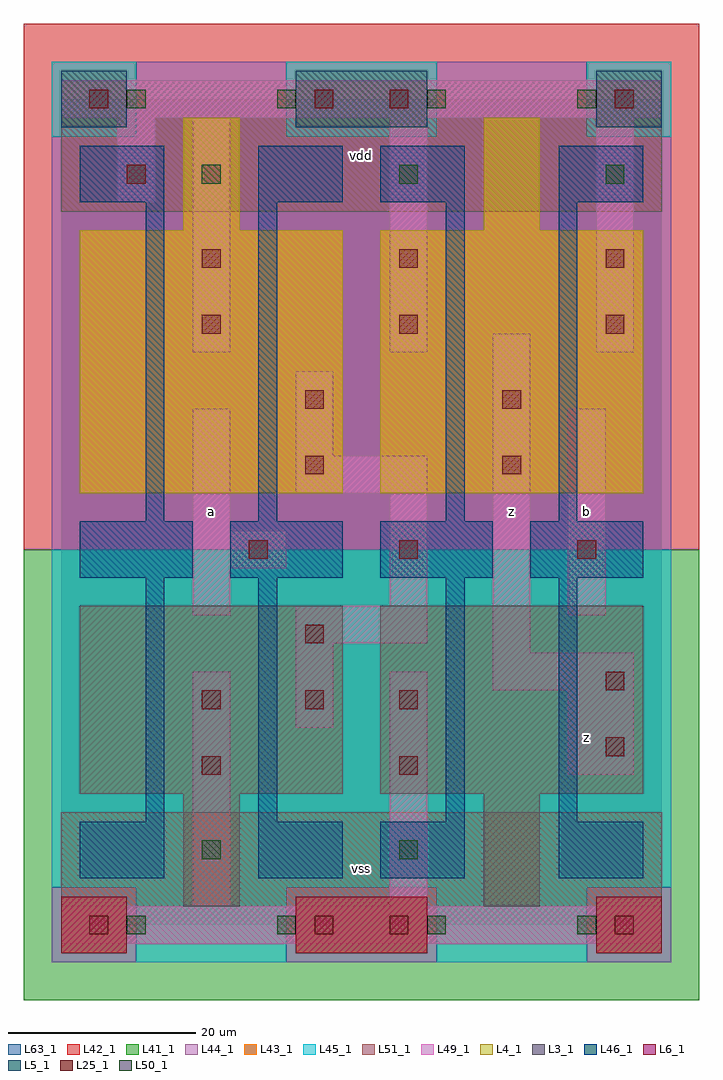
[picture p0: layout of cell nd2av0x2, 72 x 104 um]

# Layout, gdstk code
import gdstk
lib = gdstk.Library(unit=1e-6, precision=1e-09)
def R(c, l, rs):  # rectangles x0, y0, x1, y1
    for r in rs: c.add(gdstk.rectangle(r[:2], r[2:], *l))
def A(c, l, x, y, w, h, nx, ny, dx, dy):  # array of equal rectangles
    R(c, l, [(x+i*dx, y+j*dy, x+i*dx+w, y+j*dy+h) for i in range(nx) for j in range(ny)])
L3_1 = (3, 1)
L4_1 = (4, 1)
L5_1 = (5, 1)
L6_1 = (6, 1)
L25_1 = (25, 1)
L41_1 = (41, 1)
L42_1 = (42, 1)
L43_1 = (43, 1)
L44_1 = (44, 1)
L45_1 = (45, 1)
L46_1 = (46, 1)
L49_1 = (49, 1)
L50_1 = (50, 1)
L51_1 = (51, 1)
L63_1 = (63, 1)

nd2av0x2 = lib.new_cell('nd2av0x2')
R(nd2av0x2, L3_1, [(13,2,19,14), (45,2,51,14), (2,14,30,34), (34,14,62,34)])
R(nd2av0x2, L4_1, [(2,46,30,74), (34,46,62,74), (13,74,19,86), (45,74,51,86)])
R(nd2av0x2, L5_1, [(0,85,7,91), (25,85,39,91), (57,85,64,91)])
R(nd2av0x2, L6_1, [(0,-3,7,3), (0,-3,7,3), (25,-3,39,3), (25,-3,39,3), (57,-3,64,3), (57,-3,64,3)])
R(nd2av0x2, L25_1, [(3,-1,5,1), (27,-1,29,1), (35,-1,37,1), (59,-1,61,1), (15,16,17,18), (36,16,38,18), (58,18,60,20), (15,23,17,25), (26,23,28,25), (36,23,38,25), (58,25,60,27), (26,30,28,32), (20,39,22,41), (36,39,38,41), (55,39,57,41), (26,48,28,50), (47,48,49,50), (26,55,28,57), (47,55,49,57), (15,63,17,65), (36,63,38,65), (58,63,60,65), (15,70,17,72), (36,70,38,72), (58,70,60,72), (7,79,9,81), (3,87,5,89), (27,87,29,89), (35,87,37,89), (59,87,61,89)])
R(nd2av0x2, L41_1, [(-4,-8,68,40)])
R(nd2av0x2, L42_1, [(-4,40,68,96)])
R(nd2av0x2, L43_1, [(0,-3,7,3), (25,-3,39,3), (57,-3,64,3), (13,2,19,14), (45,2,51,14), (2,14,30,34), (34,14,62,34), (2,46,30,74), (34,46,62,74), (13,74,19,86), (45,74,51,86), (0,85,7,91), (25,85,39,91), (57,85,64,91)])
R(nd2av0x2, L44_1, [(-1,-4,8,4), (24,-4,40,4), (56,-4,65,4), (-1,40,65,84), (8,84,24,92), (40,84,56,92)])
R(nd2av0x2, L45_1, [(8,-4,24,4), (40,-4,56,4), (-1,4,65,40), (-1,84,8,92), (24,84,40,92), (56,84,65,92)])
A(nd2av0x2, L46_1, 2, 37, 12, 6, 4, 1, 16, 0)
R(nd2av0x2, L46_1, [(2,5,11,11), (21,5,30,11), (34,5,43,11), (53,5,62,11), (9,11,11,37), (21,11,23,37), (41,11,43,37), (53,11,55,37), (9,43,11,77), (21,43,23,77), (41,43,43,77), (53,43,55,77), (2,77,11,83), (21,77,30,83), (34,77,43,83), (53,77,62,83)])
R(nd2av0x2, L49_1, [(0,-2,64,2), (14,2,18,27), (35,2,39,27), (54,16,61,25), (25,21,29,30), (46,25,61,29), (46,29,50,63), (25,30,39,34), (14,33,18,38), (54,33,58,55), (35,34,39,46), (14,38,24,42), (14,42,18,55), (25,46,39,50), (25,50,29,59), (14,61,18,86), (35,61,39,86), (57,61,61,86), (6,77,10,86), (0,86,64,90)])
A(nd2av0x2, L50_1, 7, -1, 2, 2, 4, 2, 16, 88)
R(nd2av0x2, L50_1, [(15,7,17,9), (36,7,38,9), (15,79,17,81), (36,79,38,81), (58,79,60,81)])
R(nd2av0x2, L51_1, [(0,-2,64,12), (0,76,64,90)])
R(nd2av0x2, L63_1, [(0,0,64,88)])
nd2av0x2.add(gdstk.Label('a', (16,44), layer=49, texttype=1))
nd2av0x2.add(gdstk.Label('z', (56,20), layer=49, texttype=1))
nd2av0x2.add(gdstk.Label('b', (56,44), layer=49, texttype=1))
nd2av0x2.add(gdstk.Label('z', (48,44), layer=49, texttype=1))
nd2av0x2.add(gdstk.Label('vss', (32,6), layer=51, texttype=1))
nd2av0x2.add(gdstk.Label('vdd', (32,82), layer=51, texttype=1))

lib.write_gds('nd2av0x2.gds')
